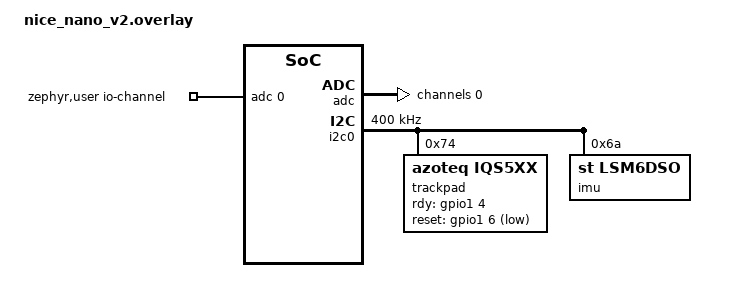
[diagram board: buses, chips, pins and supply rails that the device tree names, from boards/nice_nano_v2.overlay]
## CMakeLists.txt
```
# Copyright (c) 2026 Wafer Pad contributors
# SPDX-License-Identifier: Apache-2.0

cmake_minimum_required(VERSION 3.20.0)

# Register this repository as a Zephyr module (out-of-tree board, DT binding,
# Azoteq driver) even when the app is built outside its own west workspace.
# zephyr_module.py merges modules by name, so a duplicate entry from west is
# harmless.
list(APPEND EXTRA_ZEPHYR_MODULES ${CMAKE_CURRENT_SOURCE_DIR})

find_package(Zephyr REQUIRED HINTS $ENV{ZEPHYR_BASE})
project(wafer_pad LANGUAGES C)

target_include_directories(app PRIVATE include)

add_subdirectory(src)
```

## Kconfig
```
# Copyright (c) 2026 Wafer Pad contributors
# SPDX-License-Identifier: Apache-2.0

mainmenu "Wafer Pad"

menu "Wafer Pad application"

# Every subsystem owns its options (CONFIG_WAFER_PAD_<SUBSYSTEM>_*).
rsource "src/touch/Kconfig"
rsource "src/imu/Kconfig"
rsource "src/orientation/Kconfig"
rsource "src/gestures/Kconfig"
rsource "src/air_mouse/Kconfig"
rsource "src/state/Kconfig"

module = WAFER_PAD
module-str = Wafer Pad
source "subsys/logging/Kconfig.template.log_config"

endmenu

source "Kconfig.zephyr"
```

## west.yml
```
# Wafer Pad west manifest.
#
# This repository is the manifest repository of its own west workspace
# ("T2 star topology"). It pins upstream Zephyr to a released tag and pulls in
# ONLY the modules this application actually needs, to keep `west update`
# small and the build reproducible.
#
# Verified versions (see docs/testing.md for how this was checked):
#   Zephyr  v4.5.0  (commit 41d10b59730406bbab4ca9f1fbbe9e96aafb4966)
#   Zephyr SDK 1.0.1 (zephyr/SDK_VERSION at v4.5.0)
#
# Workspace setup (fresh):
#   mkdir wafer-ws && cd wafer-ws
#   git clone <this repo> wafer-pad
#   west init -l wafer-pad
#   west update
#   west packages pip --install   # Python deps for this Zephyr version

manifest:
  self:
    path: wafer-pad

  remotes:
    - name: zephyrproject-rtos
      url-base: https://github.com/zephyrproject-rtos

  projects:
    - name: zephyr
      remote: zephyrproject-rtos
      revision: v4.5.0
      import:
        # Only the modules required for nRF52840 + BLE + ST sensor HAL.
        # Module revisions are taken from zephyr/west.yml at v4.5.0.
        name-allowlist:
          - cmsis_6        # Cortex-M CMSIS core headers
          - hal_nordic     # nrfx drivers used by the nRF52840 SoC support
          - hal_st         # STMEMSC HAL used by the Zephyr lsm6dso driver
          - mbedtls        # PSA crypto backend for BLE SMP (pairing / bonding)
          - tf-psa-crypto  # PSA crypto core used by mbedtls in this Zephyr version
          - picolibc       # C library module (fallback when not taken from the SDK)
          - segger         # Optional: SEGGER RTT logging over SWD
```

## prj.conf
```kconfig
# Wafer Pad v0.1 — application configuration (nice!nano v2, Zephyr v4.5.0)

# ---- Console, logging and shell over USB CDC ACM ---------------------------
# The board's Kconfig.defconfig enables the CDC ACM serial backend.
CONFIG_LOG=y
CONFIG_LOG_MODE_DEFERRED=y
CONFIG_SHELL=y
CONFIG_I2C_SHELL=y

# ---- Peripherals -----------------------------------------------------------
CONFIG_GPIO=y
CONFIG_I2C=y
# Every TWIM stall blocks the SHARED bus (touch + IMU) for this long. Set
# explicitly: an upstream shield Kconfig raises the default to 1000 ms
# whenever SENSOR=y. Must stay above the longest legitimate IQS5xx clock
# stretch (one LP2 report period, ~160-200 ms).
CONFIG_I2C_TRANSFER_TIMEOUT_MS=500
CONFIG_SENSOR=y

# ---- Bluetooth LE HID mouse (HID over GATT) ---------------------------------
CONFIG_BT=y
CONFIG_BT_PERIPHERAL=y
CONFIG_BT_SMP=y
CONFIG_BT_DIS=y
CONFIG_BT_BAS=y
CONFIG_BT_DEVICE_NAME="Wafer Pad"
# 962 = 0x03C2, GAP appearance "HID Mouse"
CONFIG_BT_DEVICE_APPEARANCE=962
CONFIG_BT_DIS_MANUF_NAME_STR="Wafer Pad contributors"
CONFIG_BT_DIS_MODEL_NUMBER_STR="Wafer Pad v0.1"

# Up to 4 bonded hosts; the least recently USED bond is dropped when a 5th
# host pairs (the usage order is persisted, so it survives reboots).
# New pairings (Just Works, NoInputNoOutput) are accepted only inside a
# pairing window: while no bond exists, CONFIG_WAFER_PAD_BLE_PAIRING_WINDOW_S
# after boot, or after "wp pair" on the shell. A host that "forgot" the pad
# can re-pair (without unpairing here) only while the window is open.
# Pairing requires LE Secure Connections (Bluetooth 4.2+ host): legacy-only
# hosts are rejected (Zephyr default CONFIG_BT_SMP_SC_PAIR_ONLY=y).
CONFIG_BT_MAX_PAIRED=4
CONFIG_BT_KEYS_OVERWRITE_OLDEST=y
CONFIG_BT_KEYS_SAVE_AGING_COUNTER_ON_PAIRING=y
CONFIG_BT_SMP_ALLOW_UNAUTH_OVERWRITE=y
CONFIG_BT_SMP_APP_PAIRING_ACCEPT=y

# HID reports in flight (2) + one ATT response + Service Changed + BAS: the
# router's notify must never wait for an ATT buffer (K_FOREVER).
CONFIG_BT_ATT_TX_COUNT=5
# Report rejected connection-parameter requests (re-requested with back-off).
CONFIG_BT_USER_CONN_PARAM_REJECTED=y

# GAP Peripheral Preferred Connection Parameters (1.25 ms / 10 ms units):
# 15 ms interval, latency 0, 6 s supervision timeout (Apple-compliant).
CONFIG_BT_PERIPHERAL_PREF_MIN_INT=12
CONFIG_BT_PERIPHERAL_PREF_MAX_INT=12
CONFIG_BT_PERIPHERAL_PREF_LATENCY=0
CONFIG_BT_PERIPHERAL_PREF_TIMEOUT=600

# Bonds persist in the storage partition (0xEC000) through settings + NVS.
CONFIG_BT_SETTINGS=y
CONFIG_FLASH=y
CONFIG_FLASH_MAP=y
CONFIG_NVS=y
CONFIG_SETTINGS=y
```

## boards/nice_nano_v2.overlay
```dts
/*
 * Copyright (c) 2026 Wafer Pad contributors
 * SPDX-License-Identifier: Apache-2.0
 *
 * Wafer Pad wiring on the nice!nano v2 (see docs/wiring.md):
 *
 *   Signal          nice!nano      Device
 *   SDA             D2 / P0.17     TPS65 J1-6, LSM6DSOX SDA
 *   SCL             D3 / P0.20     TPS65 J1-5, LSM6DSOX SCL
 *   RDY             D8 / P1.04     TPS65 J1-1
 *   NRST            D9 / P1.06     TPS65 J1-2
 *   INT1 (optional) D4 / P0.22     LSM6DSOX INT1
 *   3V3             VCC pin        TPS65 J1-4 (VDDHI), LSM6DSOX VIN/VCC
 *   GND             GND            TPS65 J1-3, LSM6DSOX GND
 *
 * Both devices share I2C0 at 400 kHz. External 4.7 kOhm pull-ups from SDA
 * and SCL to 3V3 are REQUIRED unless the IMU breakout already provides
 * pull-ups (nice!nano v2 has none; TPS65 pull-ups are undocumented). The
 * internal nRF pull-ups enabled below (~13 kOhm) are only a fallback.
 */

#include <zephyr/dt-bindings/sensor/lsm6dso.h>

/ {
	aliases {
		touch0 = &trackpad;
		motion0 = &imu;
	};

	zephyr,user {
		/* Battery: nRF52840 SAADC channel on VDDH/5 (nice!nano v2 runs the
		 * SoC in high-voltage mode from BAT+). */
		io-channels = <&adc 0>;
	};
};

&adc {
	#address-cells = <1>;
	#size-cells = <0>;

	channel@0 {
		reg = <0>;
		zephyr,gain = "ADC_GAIN_1_6";
		zephyr,reference = "ADC_REF_INTERNAL";
		zephyr,acquisition-time = <ADC_ACQ_TIME(ADC_ACQ_TIME_MICROSECONDS, 40)>;
		zephyr,input-positive = <NRF_SAADC_VDDHDIV5>;
		zephyr,resolution = <12>;
		zephyr,oversampling = <4>;
	};
};

&i2c0_default {
	group1 {
		bias-pull-up;
	};
};

&i2c0 {
	status = "okay";
	clock-frequency = <I2C_BITRATE_FAST>;

	/* Azoteq TPS65 (IQS550, IQS5xx-B000 firmware). Default address 0x74
	 * (IQS5xx-B000 datasheet §8.2). Not the Cirque Pinnacle (0x2A). */
	trackpad: trackpad@74 {
		compatible = "azoteq,iqs5xx";
		reg = <0x74>;
		rdy-gpios = <&gpio1 4 (GPIO_ACTIVE_HIGH | GPIO_PULL_DOWN)>;
		reset-gpios = <&gpio1 6 (GPIO_ACTIVE_LOW | GPIO_OPEN_DRAIN)>;
	};

	/* ST LSM6DSOX on the Zephyr "st,lsm6dso" driver: WHO_AM_I (0x6C) and the
	 * accel/gyro control/output registers are identical (hal_st
	 * lsm6dso_reg.h vs lsm6dsox_reg.h). 0x6A = SA0 low (Adafruit default),
	 * use 0x6B if the breakout pulls SA0 high — check with `i2c scan`.
	 */
	imu: lsm6dsox@6a {
		compatible = "st,lsm6dso";
		reg = <0x6a>;
		accel-range = <LSM6DSO_DT_FS_4G>;
		accel-odr = <LSM6DSO_DT_ODR_104Hz>;
		gyro-range = <LSM6DSO_DT_FS_500DPS>;
		gyro-odr = <LSM6DSO_DT_ODR_104Hz>;
		/* Optional INT1 on D4 / P0.22 (needs CONFIG_LSM6DSO_TRIGGER):
		 * irq-gpios = <&gpio0 22 GPIO_ACTIVE_HIGH>;
		 * int-pin = <1>;
		 */
	};
};
```

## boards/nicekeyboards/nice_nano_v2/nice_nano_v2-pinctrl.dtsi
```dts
/*
 * Copyright (c) 2026 Wafer Pad contributors
 * SPDX-License-Identifier: Apache-2.0
 */

&pinctrl {
	/* Pro Micro I2C pins: D2 = P0.17 (SDA), D3 = P0.20 (SCL).
	 * The nice!nano v2 has NO on-board I2C pull-ups.
	 */
	i2c0_default: i2c0_default {
		group1 {
			psels = <NRF_PSEL(TWIM_SDA, 0, 17)>,
				<NRF_PSEL(TWIM_SCL, 0, 20)>;
		};
	};

	i2c0_sleep: i2c0_sleep {
		group1 {
			psels = <NRF_PSEL(TWIM_SDA, 0, 17)>,
				<NRF_PSEL(TWIM_SCL, 0, 20)>;
			low-power-enable;
		};
	};

	/* Pro Micro serial pins: D1 = P0.06 (TX), D0 = P0.08 (RX). */
	uart0_default: uart0_default {
		group1 {
			psels = <NRF_PSEL(UART_TX, 0, 6)>;
		};
		group2 {
			psels = <NRF_PSEL(UART_RX, 0, 8)>;
			bias-pull-up;
		};
	};

	uart0_sleep: uart0_sleep {
		group1 {
			psels = <NRF_PSEL(UART_TX, 0, 6)>,
				<NRF_PSEL(UART_RX, 0, 8)>;
			low-power-enable;
		};
	};
};
```

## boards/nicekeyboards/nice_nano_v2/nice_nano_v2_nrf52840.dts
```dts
/*
 * Copyright (c) 2026 Wafer Pad contributors
 * SPDX-License-Identifier: Apache-2.0
 *
 * nice!nano v2 (Nordic nRF52840, Pro Micro footprint) with the factory
 * Adafruit nRF52 UF2 bootloader. Out-of-tree board: upstream Zephyr v4.5.0
 * has no nice!nano board (ZMK ships one in its own Zephyr fork).
 *
 * Hardware facts below were checked against the nice!nano v2 schematic
 * (nicekeyboards.com/docs/nice-nano) — see docs/wiring.md for details.
 */

/dts-v1/;
#include <nordic/nrf52840_qiaa.dtsi>
#include <nordic/nrf52840_partition_uf2_sdv6.dtsi>
#include "nice_nano_v2-pinctrl.dtsi"

/ {
	model = "nice!nano v2";
	compatible = "nicekeyboards,nice-nano-v2";

	chosen {
		zephyr,sram = &sram0;
		zephyr,flash = &flash0;
		zephyr,code-partition = &code_partition;
	};

	leds {
		compatible = "gpio-leds";

		/* Schematic net BLED on P0.15, active high (bootloader board.h:
		 * LED_PRIMARY_PIN P0.15, LED_STATE_ON 1). */
		led0: led_0 {
			gpios = <&gpio0 15 GPIO_ACTIVE_HIGH>;
			label = "Blue LED";
		};
	};

	/*
	 * "VCC"/3V3 header pin: U3 = XC6220B331MR 3.3 V LDO fed from VDDH.
	 * Its CE pin is net POWER_PIN = P0.13 with a 10 MOhm pull-up to VDDH:
	 * the rail is ON by default and only switches OFF when P0.13 is driven
	 * low. The TPS65 and the LSM6DSOX are powered from this rail.
	 *
	 * Wafer Pad v0.1 keeps it permanently on (regulator-always-on): the
	 * firmware never cuts sensor power. It also stays on in System OFF
	 * (GPIO output latch retained) so that the trackpad can wake the MCU.
	 */
	ext_vcc: ext-vcc {
		compatible = "regulator-fixed";
		regulator-name = "EXT_VCC";
		enable-gpios = <&gpio0 13 GPIO_ACTIVE_HIGH>;
		regulator-min-microvolt = <3300000>;
		regulator-max-microvolt = <3300000>;
		regulator-boot-on;
		regulator-always-on;
		startup-delay-us = <10000>;
	};

	aliases {
		led0 = &led0;
		watchdog0 = &wdt0;
	};
};

/*
 * Flash map (nrf52840_partition_uf2_sdv6.dtsi + one change):
 *   0x00000-0x26000  MBR + SoftDevice S140 v6.1.1 (kept, read-only)
 *   0x26000-0xEA000  application (784 KB)
 *   0xEC000-0xF4000  storage (settings / BLE bonds, 32 KB)
 *   0xF4000-0x100000 UF2 bootloader + its settings (read-only)
 * The Adafruit bootloader only accepts UF2 blocks below
 * USER_FLASH_END = 0xF4000 - DFU_APP_DATA_RESERVED (40 KB) = 0xEA000, so the
 * upstream 0xC6000-byte code partition is shrunk to end at 0xEA000 to make
 * the linker enforce the real limit.
 */
&code_partition {
	reg = <0x00026000 0x000c4000>;
};

/* REG0 (VDDH -> VDD) DC/DC: L1 10 uH on DCCH is fitted. */
&reg0 {
	status = "okay";
};

/* REG1 (VDD -> 1V3) DC/DC: L3 15 nH + L4 10 uH on DCC are fitted. */
&reg1 {
	regulator-initial-mode = <NRF5X_REG_MODE_DCDC>;
};

/* 32.768 kHz crystal Y2 (FC-12M) on XL1/XL2 = P0.00/P0.01. */
&lfclk {
	k32src = "xtal";
	k32src-accuracy-ppm = <50>;
};

&uicr {
	gpio-as-nreset;
};

&adc {
	status = "okay";
};

&gpiote {
	status = "okay";
};

&gpio0 {
	status = "okay";
	/* P0.00/P0.01: 32 kHz crystal. P0.14, P0.16: tied to the RESET net on the
	 * v2 schematic. P0.18: nRESET. Never use these as GPIO. */
	gpio-reserved-ranges = <0 2>, <14 1>, <16 1>, <18 1>;
};

&gpio1 {
	status = "okay";
};

&i2c0 {
	compatible = "nordic,nrf-twim";
	pinctrl-0 = <&i2c0_default>;
	pinctrl-1 = <&i2c0_sleep>;
	pinctrl-names = "default", "sleep";
	clock-frequency = <I2C_BITRATE_FAST>;
	/* Left disabled: the application overlay enables it and adds devices. */
};

&uart0 {
	compatible = "nordic,nrf-uarte";
	current-speed = <115200>;
	pinctrl-0 = <&uart0_default>;
	pinctrl-1 = <&uart0_sleep>;
	pinctrl-names = "default", "sleep";
};

zephyr_udc0: &usbd {
	status = "okay";
};

#include <../boards/common/usb/cdc_acm_serial.dtsi>
```

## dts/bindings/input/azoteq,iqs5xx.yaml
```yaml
# Copyright (c) 2026 Wafer Pad contributors
# SPDX-License-Identifier: Apache-2.0

description: |
  Azoteq IQS5xx-B000 trackpad controller (IQS550 / IQS572 / IQS525), e.g. the
  Azoteq TPS65 65 x 49 mm module (IQS550, product number 40).

  OUT-OF-TREE binding of the Wafer Pad project; upstream Zephyr v4.5.0 has no
  Azoteq IQS5xx binding or driver.

  The driver reports raw controller coordinates. Axis swap / inversion for the
  mechanical mounting is done in software (Wafer Pad touch source), the
  controller's factory XY configuration is preserved (read-modify-write).

  Example (TPS65 on a nice!nano v2):

    &i2c0 {
        trackpad: trackpad@74 {
            compatible = "azoteq,iqs5xx";
            reg = <0x74>;
            rdy-gpios = <&gpio1 4 (GPIO_ACTIVE_HIGH | GPIO_PULL_DOWN)>;
            reset-gpios = <&gpio1 6 (GPIO_ACTIVE_LOW | GPIO_OPEN_DRAIN)>;
        };
    };

compatible: "azoteq,iqs5xx"

include: i2c-device.yaml

properties:
  rdy-gpios:
    type: phandle-array
    required: true
    description: |
      RDY output of the controller (active HIGH = communication window open
      with new data). Used as a level-triggered interrupt.

  reset-gpios:
    type: phandle-array
    description: |
      NRST input of the controller (active LOW). The IC has an internal
      pull-up and may drive NRST low itself on internal resets, so an
      open-drain configuration is recommended.

  event-mode:
    type: boolean
    description: |
      Start in event mode (RDY only when a touch event occurs). Without this
      property the controller streams a window every report cycle, which is
      more robust (no missed finger-up) at a higher current.

  active-report-rate-ms:
    type: int
    default: 0
    description: |
      Report period in Active mode in milliseconds. 0 keeps the controller's
      non-volatile default.
```

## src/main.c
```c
/*
 * Copyright (c) 2026 Wafer Pad contributors
 * SPDX-License-Identifier: Apache-2.0
 *
 * Wafer Pad entry point: brings the subsystems up in dependency order and
 * returns. All work is done by the router thread, the sensor threads, the
 * BLE stack and the system work queue.
 *
 * The init results of the sensors are posted to the router (which drives
 * the state machine INITIALIZING -> TRACKPAD / ERROR_RECOVERY). The touch
 * source posts its own status (main only reports an init failure); the IMU
 * source posts the same status main does, which the router handles
 * idempotently.
 * The trackpad works without the IMU (motion features invalid).
 *
 * A failed HID (BLE) bring-up cannot be retried in place (bt_enable() is not
 * re-entrant after a half-way failure), so the pad reboots after a short
 * delay, at most WP_HID_FAIL_REBOOTS times in a row (counter kept in
 * no-init RAM across warm resets); after that it keeps running with the
 * error LED so the cause can be read on the shell.
 */

#include <errno.h>

#include <zephyr/kernel.h>
#include <zephyr/linker/section_tags.h>
#include <zephyr/logging/log.h>
#include <zephyr/sys/reboot.h>
#include <zephyr/version.h>

#include <wafer_pad/platform.h>

LOG_MODULE_REGISTER(wp_main, CONFIG_WAFER_PAD_LOG_LEVEL);

#if __has_include(<app_version.h>)
#include <app_version.h>
#define WP_FW_VERSION APP_VERSION_STRING
#else
#define WP_FW_VERSION "0.1.0"
#endif

#define WP_HID_FAIL_REBOOTS     3
#define WP_HID_FAIL_REBOOT_S    5
#define WP_HID_FAIL_MAGIC       0x57504846U /* "WPHF" */

/* Survives warm resets (sys_reboot); random after power-on -> magic check. */
static __noinit struct {
	uint32_t magic;
	uint32_t count;
} hid_fail;

static void hid_fail_reboot_fn(struct k_work *work)
{
	ARG_UNUSED(work);
	LOG_ERR("rebooting to recover the HID transport");
	sys_reboot(SYS_REBOOT_COLD);
}

static K_WORK_DELAYABLE_DEFINE(hid_fail_reboot_work, hid_fail_reboot_fn);

static void hid_init_result(int err)
{
	if (hid_fail.magic != WP_HID_FAIL_MAGIC) {
		hid_fail.magic = WP_HID_FAIL_MAGIC;
		hid_fail.count = 0U;
	}
	if (err == 0) {
		hid_fail.count = 0U;
		return;
	}

	LOG_ERR("HID init failed (%d)", err);
	wp_led_set(WP_LED_ERROR, 0);
	if (hid_fail.count >= WP_HID_FAIL_REBOOTS) {
		LOG_ERR("HID init failed %u times in a row: not rebooting again",
			hid_fail.count);
		return;
	}
	hid_fail.count++;
	(void)k_work_schedule(&hid_fail_reboot_work, K_SECONDS(WP_HID_FAIL_REBOOT_S));
}

int main(void)
{
	int err;

	LOG_INF("Wafer Pad firmware v%s (Zephyr %s)", WP_FW_VERSION, KERNEL_VERSION_STRING);

	err = wp_led_init();
	if (err != 0) {
		LOG_WRN("status LED unavailable (%d)", err);
	}

	/* The router must exist before any producer starts posting. */
	err = wp_router_init();
	if (err != 0) {
		LOG_ERR("router init failed (%d)", err);
		wp_led_set(WP_LED_ERROR, 0);
		return err;
	}

	err = wp_hid_init();
	hid_init_result(err);

	/* On success the touch source reports the controller state itself: OK
	 * or FATAL now if the asynchronous bring-up already finished, otherwise
	 * RESET+OK / FATAL from the driver callback later. Posting OK here would
	 * mask a FATAL (the router's latch keeps the newest status).
	 */
	err = wp_touch_source_init();
	if (err != 0) {
		LOG_ERR("touch init failed (%d): state machine will retry", err);
		(void)wp_router_post_touch_status(WP_TOUCH_STATUS_FATAL);
	}

	err = wp_imu_source_init();
	if (err == -ENODEV) {
		LOG_INF("no IMU: trackpad-only operation");
		(void)wp_router_post_imu_status(WP_IMU_STATUS_ABSENT);
	} else if (err != 0) {
		LOG_WRN("IMU init failed (%d): retrying in the background", err);
		(void)wp_router_post_imu_status(WP_IMU_STATUS_ERROR);
	} else {
		(void)wp_router_post_imu_status(WP_IMU_STATUS_OK);
	}

	err = wp_power_init();
	if (err != 0) {
		LOG_WRN("power init failed (%d)", err);
	}

	LOG_INF("init complete");
	return 0;
}
```
